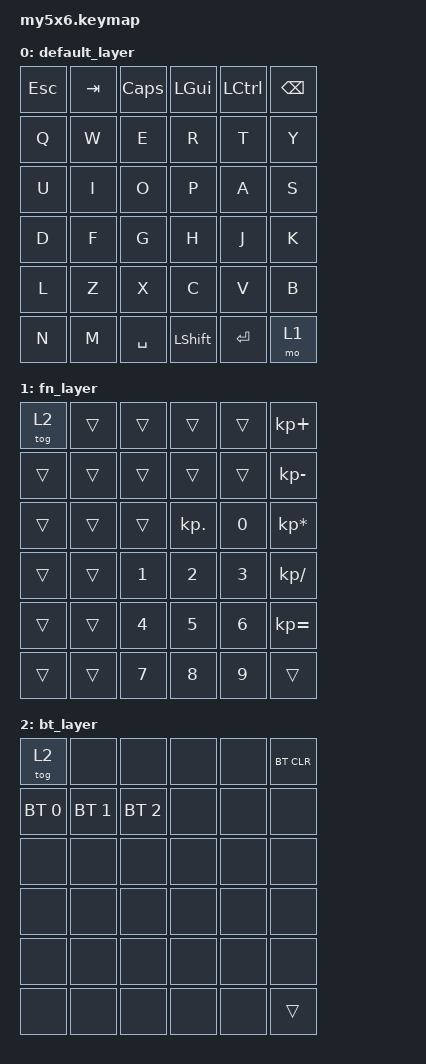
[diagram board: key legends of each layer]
#include <behaviors.dtsi>
#include <dt-bindings/zmk/keys.h>
#include <dt-bindings/zmk/bt.h>

/ {
    keymap {
        compatible = "zmk,keymap";

        default_layer {  // Layer 0 - Base Layout
            bindings = <
                &kp ESC    &kp TAB  &kp CAPS   &kp LGUI  &kp LCTL  &kp BSPC
                &kp Q      &kp W    &kp E      &kp R     &kp T     &kp Y
                &kp U      &kp I    &kp O      &kp P     &kp A     &kp S
                &kp D      &kp F    &kp G      &kp H     &kp J     &kp K
                &kp L      &kp Z    &kp X      &kp C     &kp V     &kp B
                &kp N      &kp M    &kp SPACE  &kp LSHFT &kp RET   &mo 1
            >;
        };

        fn_layer {  // Layer 1 - Function Layer (Numpad)
            bindings = <
                &tog 2     &trans   &trans     &trans    &trans    &kp KP_PLUS
                &trans     &trans   &trans     &trans    &trans    &kp KP_MINUS
                &trans     &trans   &trans     &kp KP_DOT &kp N0   &kp KP_ASTERISK
                &trans     &trans   &kp N1     &kp N2    &kp N3    &kp KP_SLASH
                &trans     &trans   &kp N4     &kp N5    &kp N6    &kp KP_EQUAL
                &trans     &trans   &kp N7     &kp N8    &kp N9    &trans
            >;
        };

        bt_layer {  // Layer 2 - Bluetooth & Hardware Adjustments (Triggered by Top Left)
            bindings = <
                &tog 2        &none         &none         &none    &none    &bt BT_CLR
                &bt BT_SEL 0  &bt BT_SEL 1  &bt BT_SEL 2  &none    &none    &none
                &none         &none         &none         &none    &none    &none
                &none         &none         &none         &none    &none    &none
                &none         &none         &none         &none    &none    &none
                &none         &none         &none         &none    &none    &trans
            >;
        };
    };
};
